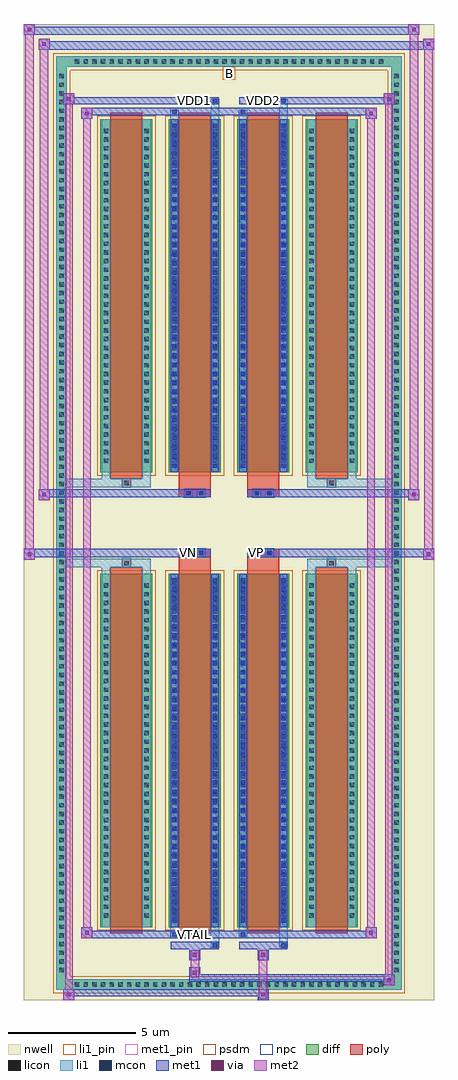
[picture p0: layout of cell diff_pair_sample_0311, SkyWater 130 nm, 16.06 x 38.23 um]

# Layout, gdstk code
import gdstk
lib = gdstk.Library(unit=1e-6, precision=5e-09)
def R(c, l, rs):  # rectangles x0, y0, x1, y1
    for r in rs: c.add(gdstk.rectangle(r[:2], r[2:], *l))
def A(c, l, x, y, w, h, nx, ny, dx, dy):  # array of equal rectangles
    R(c, l, [(x+i*dx, y+j*dy, x+i*dx+w, y+j*dy+h) for i in range(nx) for j in range(ny)])
def P(c, l, *ps):  # polygons
    for p in ps: c.add(gdstk.Polygon(p, *l))
nwell = (64, 20)
diff = (65, 20)
poly = (66, 20)
licon = (66, 44)
li1_pin = (67, 16)
li1 = (67, 20)
mcon = (67, 44)
met1_pin = (68, 16)
met1 = (68, 20)
via = (68, 44)
met2 = (69, 20)
psdm = (94, 20)
npc = (95, 20)

diff_pair_sample_0311 = lib.new_cell('diff_pair_sample_0311')
R(diff_pair_sample_0311, nwell, [(-8.03,-18.68,8.03,19.55), (-5.35,-16.87,-0.01,-0.805), (0.01,-16.87,5.35,-0.805), (-5.35,0.805,-0.01,16.87), (0.01,0.805,5.35,16.87)])
A(diff_pair_sample_0311, diff, -6.155, -18.28, 0.41, 0.41, 36, 2, 0.34, 36.15)
A(diff_pair_sample_0311, diff, -6.76, -17.715, 0.41, 0.41, 1, 104, 0, 0.34)
A(diff_pair_sample_0311, diff, 6.35, -17.715, 0.41, 0.41, 1, 104, 0, 0.34)
A(diff_pair_sample_0311, diff, -5.04, -15.825, 2.04, 13.84, 4, 2, 2.68, 17.81)
R(diff_pair_sample_0311, diff, [(-6.155,-18.28,6.155,-17.87), (-6.76,-17.715,-6.35,17.715), (6.35,-17.715,6.76,17.715), (-6.155,17.87,6.155,18.28)])
P(diff_pair_sample_0311, diff, [(6.76,18.28),(-6.76,18.28),(-6.76,-17.87),(-6.35,-17.87),(-6.35,17.87),(6.35,17.87),(6.35,-17.87),(-6.35,-17.87),(-6.76,-17.87),(-6.76,-18.28),(6.76,-18.28)])
A(diff_pair_sample_0311, poly, -4.65, -16.075, 1.26, 14.34, 4, 2, 2.68, 17.81)
R(diff_pair_sample_0311, poly, [(-4.185,-1.735,-3.855,-1.405), (-4.185,-1.735,-3.855,-1.405), (-1.97,-1.735,-0.71,-1.335), (0.71,-1.735,1.97,-1.335), (3.855,-1.735,4.185,-1.405), (3.855,-1.735,4.185,-1.405), (-1.97,-1.335,-0.71,-1.005), (-1.755,-1.335,-1.425,-1.005), (-1.255,-1.335,-0.925,-1.005), (0.71,-1.335,1.97,-1.005), (0.925,-1.335,1.255,-1.005), (1.425,-1.335,1.755,-1.005), (-1.97,1.005,-0.71,1.335), (-1.755,1.005,-1.425,1.335), (-1.255,1.005,-0.925,1.335), (0.71,1.005,1.97,1.335), (0.925,1.005,1.255,1.335), (1.425,1.005,1.755,1.335), (-1.97,1.335,-0.71,1.735), (0.71,1.335,1.97,1.735), (-4.185,1.405,-3.855,1.735), (-4.185,1.405,-3.855,1.735), (3.855,1.405,4.185,1.735), (3.855,1.405,4.185,1.735)])
A(diff_pair_sample_0311, licon, -6.035, -18.16, 0.17, 0.17, 36, 2, 0.34, 36.15)
A(diff_pair_sample_0311, licon, -6.64, -17.595, 0.17, 0.17, 1, 104, 0, 0.34)
A(diff_pair_sample_0311, licon, 6.47, -17.595, 0.17, 0.17, 1, 104, 0, 0.34)
A(diff_pair_sample_0311, licon, -4.9, -15.45, 0.17, 0.17, 1, 39, 0, 0.34)
A(diff_pair_sample_0311, licon, -3.31, -15.45, 0.17, 0.17, 1, 39, 0, 0.34)
A(diff_pair_sample_0311, licon, -2.22, -15.45, 0.17, 0.17, 1, 39, 0, 0.34)
A(diff_pair_sample_0311, licon, -0.63, -15.45, 0.17, 0.17, 1, 39, 0, 0.34)
A(diff_pair_sample_0311, licon, 0.46, -15.45, 0.17, 0.17, 1, 39, 0, 0.34)
A(diff_pair_sample_0311, licon, 2.05, -15.45, 0.17, 0.17, 1, 39, 0, 0.34)
A(diff_pair_sample_0311, licon, 3.14, -15.45, 0.17, 0.17, 1, 39, 0, 0.34)
A(diff_pair_sample_0311, licon, 4.73, -15.45, 0.17, 0.17, 1, 39, 0, 0.34)
A(diff_pair_sample_0311, licon, -4.9, 2.36, 0.17, 0.17, 1, 39, 0, 0.34)
A(diff_pair_sample_0311, licon, -3.31, 2.36, 0.17, 0.17, 1, 39, 0, 0.34)
A(diff_pair_sample_0311, licon, -2.22, 2.36, 0.17, 0.17, 1, 39, 0, 0.34)
A(diff_pair_sample_0311, licon, -0.63, 2.36, 0.17, 0.17, 1, 39, 0, 0.34)
A(diff_pair_sample_0311, licon, 0.46, 2.36, 0.17, 0.17, 1, 39, 0, 0.34)
A(diff_pair_sample_0311, licon, 2.05, 2.36, 0.17, 0.17, 1, 39, 0, 0.34)
A(diff_pair_sample_0311, licon, 3.14, 2.36, 0.17, 0.17, 1, 39, 0, 0.34)
A(diff_pair_sample_0311, licon, 4.73, 2.36, 0.17, 0.17, 1, 39, 0, 0.34)
R(diff_pair_sample_0311, licon, [(-4.105,-1.655,-3.935,-1.485), (3.935,-1.655,4.105,-1.485), (-1.675,-1.255,-1.505,-1.085), (-1.175,-1.255,-1.005,-1.085), (1.005,-1.255,1.175,-1.085), (1.505,-1.255,1.675,-1.085), (-1.675,1.085,-1.505,1.255), (-1.175,1.085,-1.005,1.255), (1.005,1.085,1.175,1.255), (1.505,1.085,1.675,1.255), (-4.105,1.485,-3.935,1.655), (3.935,1.485,4.105,1.655)])
R(diff_pair_sample_0311, li1_pin, [(-0.25,17.37,0.25,17.87)])
A(diff_pair_sample_0311, li1, -6.115, -18.24, 0.33, 0.33, 36, 2, 0.34, 36.15)
A(diff_pair_sample_0311, li1, -6.72, -17.675, 0.33, 0.33, 1, 104, 0, 0.34)
A(diff_pair_sample_0311, li1, 6.39, -17.675, 0.33, 0.33, 1, 104, 0, 0.34)
A(diff_pair_sample_0311, li1, -2.22, -15.65, 0.17, 0.17, 1, 38, 0, 0.36)
A(diff_pair_sample_0311, li1, -0.63, -15.65, 0.17, 0.17, 1, 38, 0, 0.36)
A(diff_pair_sample_0311, li1, 0.46, -15.65, 0.17, 0.17, 1, 38, 0, 0.36)
A(diff_pair_sample_0311, li1, 2.05, -15.65, 0.17, 0.17, 1, 38, 0, 0.36)
A(diff_pair_sample_0311, li1, -4.98, -15.53, 0.33, 0.33, 1, 39, 0, 0.34)
A(diff_pair_sample_0311, li1, -3.39, -15.53, 0.33, 0.33, 1, 39, 0, 0.34)
A(diff_pair_sample_0311, li1, -2.3, -15.53, 0.33, 0.33, 1, 39, 0, 0.34)
A(diff_pair_sample_0311, li1, -0.71, -15.53, 0.33, 0.33, 1, 39, 0, 0.34)
A(diff_pair_sample_0311, li1, 0.38, -15.53, 0.33, 0.33, 1, 39, 0, 0.34)
A(diff_pair_sample_0311, li1, 1.97, -15.53, 0.33, 0.33, 1, 39, 0, 0.34)
A(diff_pair_sample_0311, li1, 3.06, -15.53, 0.33, 0.33, 1, 39, 0, 0.34)
A(diff_pair_sample_0311, li1, 4.65, -15.53, 0.33, 0.33, 1, 39, 0, 0.34)
A(diff_pair_sample_0311, li1, -2.22, 2.16, 0.17, 0.17, 1, 38, 0, 0.36)
A(diff_pair_sample_0311, li1, -0.63, 2.16, 0.17, 0.17, 1, 38, 0, 0.36)
A(diff_pair_sample_0311, li1, 0.46, 2.16, 0.17, 0.17, 1, 38, 0, 0.36)
A(diff_pair_sample_0311, li1, 2.05, 2.16, 0.17, 0.17, 1, 38, 0, 0.36)
A(diff_pair_sample_0311, li1, -4.98, 2.28, 0.33, 0.33, 1, 39, 0, 0.34)
A(diff_pair_sample_0311, li1, -3.39, 2.28, 0.33, 0.33, 1, 39, 0, 0.34)
A(diff_pair_sample_0311, li1, -2.3, 2.28, 0.33, 0.33, 1, 39, 0, 0.34)
A(diff_pair_sample_0311, li1, -0.71, 2.28, 0.33, 0.33, 1, 39, 0, 0.34)
A(diff_pair_sample_0311, li1, 0.38, 2.28, 0.33, 0.33, 1, 39, 0, 0.34)
A(diff_pair_sample_0311, li1, 1.97, 2.28, 0.33, 0.33, 1, 39, 0, 0.34)
A(diff_pair_sample_0311, li1, 3.06, 2.28, 0.33, 0.33, 1, 39, 0, 0.34)
A(diff_pair_sample_0311, li1, 4.65, 2.28, 0.33, 0.33, 1, 39, 0, 0.34)
R(diff_pair_sample_0311, li1, [(-6.76,-18.28,-6.35,-17.87), (-6.76,-18.28,-6.35,-17.87), (-6.35,-18.28,6.35,-17.87), (6.35,-18.28,6.76,-17.87), (6.35,-18.28,6.76,-17.87), (-6.76,-17.87,-6.35,17.87), (6.35,-17.87,6.76,17.87), (-0.71,-16.63,-0.38,-15.825), (-0.63,-16.63,-0.46,-16.46), (1.97,-16.63,2.3,-15.825), (2.05,-16.63,2.22,-16.46), (-2.3,-16.2,-1.97,-15.825), (-2.22,-16.2,-2.05,-16.03), (0.38,-16.2,0.71,-15.825), (0.46,-16.2,0.63,-16.03), (-4.98,-15.825,-4.65,-1.985), (-3.39,-15.825,-3.06,-1.985), (-2.3,-15.825,-1.97,-1.985), (-0.71,-15.825,-0.38,-1.985), (0.38,-15.825,0.71,-1.985), (1.97,-15.825,2.3,-1.985), (3.06,-15.825,3.39,-1.985), (4.65,-15.825,4.98,-1.985), (-2.22,-15.65,-2.05,-2.16), (-0.63,-15.65,-0.46,-2.16), (0.46,-15.65,0.63,-2.16), (2.05,-15.65,2.22,-2.16), (-4.98,-1.985,-4.65,-1.405), (-3.39,-1.985,-3.06,-1.405), (3.06,-1.985,3.39,-1.405), (4.65,-1.985,4.98,-1.405), (-6.76,-1.735,-4.185,-1.405), (-4.98,-1.735,-4.185,-1.405), (-4.185,-1.735,-3.855,-1.405), (-3.855,-1.735,-3.06,-1.405), (3.06,-1.735,3.855,-1.405), (3.855,-1.735,4.185,-1.405), (3.855,-1.735,6.76,-1.405), (4.185,-1.735,4.98,-1.405), (-1.755,-1.335,-1.425,-1.005), (-1.255,-1.335,-0.925,-1.005), (0.925,-1.335,1.255,-1.005), (1.425,-1.335,1.755,-1.005), (-1.755,1.005,-1.425,1.335), (-1.255,1.005,-0.925,1.335), (0.925,1.005,1.255,1.335), (1.425,1.005,1.755,1.335), (-6.76,1.405,-4.185,1.735), (-4.98,1.405,-4.185,1.735), (-4.98,1.405,-4.65,1.985), (-4.185,1.405,-3.855,1.735), (-3.855,1.405,-3.06,1.735), (-3.39,1.405,-3.06,1.985), (3.06,1.405,3.855,1.735), (3.06,1.405,3.39,1.985), (3.855,1.405,4.185,1.735), (3.855,1.405,6.76,1.735), (4.185,1.405,4.98,1.735), (4.65,1.405,4.98,1.985), (-4.98,1.985,-4.65,15.825), (-3.39,1.985,-3.06,15.825), (-2.3,1.985,-1.97,15.825), (-0.71,1.985,-0.38,15.825), (0.38,1.985,0.71,15.825), (1.97,1.985,2.3,15.825), (3.06,1.985,3.39,15.825), (4.65,1.985,4.98,15.825), (-2.22,2.16,-2.05,15.65), (-0.63,2.16,-0.46,15.65), (0.46,2.16,0.63,15.65), (2.05,2.16,2.22,15.65), (-2.3,15.825,-1.97,16.2), (-0.71,15.825,-0.38,16.63), (0.38,15.825,0.71,16.2), (1.97,15.825,2.3,16.63), (-2.22,16.03,-2.05,16.2), (0.46,16.03,0.63,16.2), (-0.63,16.46,-0.46,16.63), (2.05,16.46,2.22,16.63), (-6.76,17.87,-6.35,18.28), (-6.76,17.87,-6.35,18.28), (-6.35,17.87,6.35,18.28), (6.35,17.87,6.76,18.28), (6.35,17.87,6.76,18.28)])
A(diff_pair_sample_0311, mcon, -2.22, -15.65, 0.17, 0.17, 1, 38, 0, 0.36)
A(diff_pair_sample_0311, mcon, -0.63, -15.65, 0.17, 0.17, 1, 38, 0, 0.36)
A(diff_pair_sample_0311, mcon, 0.46, -15.65, 0.17, 0.17, 1, 38, 0, 0.36)
A(diff_pair_sample_0311, mcon, 2.05, -15.65, 0.17, 0.17, 1, 38, 0, 0.36)
A(diff_pair_sample_0311, mcon, -2.22, 2.16, 0.17, 0.17, 1, 38, 0, 0.36)
A(diff_pair_sample_0311, mcon, -0.63, 2.16, 0.17, 0.17, 1, 38, 0, 0.36)
A(diff_pair_sample_0311, mcon, 0.46, 2.16, 0.17, 0.17, 1, 38, 0, 0.36)
A(diff_pair_sample_0311, mcon, 2.05, 2.16, 0.17, 0.17, 1, 38, 0, 0.36)
R(diff_pair_sample_0311, mcon, [(-0.63,-16.63,-0.46,-16.46), (2.05,-16.63,2.22,-16.46), (-2.22,-16.2,-2.05,-16.03), (0.46,-16.2,0.63,-16.03), (-1.675,-1.255,-1.505,-1.085), (-1.175,-1.255,-1.005,-1.085), (1.005,-1.255,1.175,-1.085), (1.505,-1.255,1.675,-1.085), (-1.675,1.085,-1.505,1.255), (-1.175,1.085,-1.005,1.255), (1.005,1.085,1.175,1.255), (1.505,1.085,1.675,1.255), (-2.22,16.03,-2.05,16.2), (0.46,16.03,0.63,16.2), (-0.63,16.46,-0.46,16.63), (2.05,16.46,2.22,16.63)])
R(diff_pair_sample_0311, met1_pin, [(-1.475,-16.24,-1.205,-15.97), (-1.725,-1.295,-1.455,-1.025), (0.955,-1.295,1.225,-1.025), (-1.475,16.42,-1.205,16.69), (1.205,16.42,1.475,16.69)])
A(diff_pair_sample_0311, met1, -2.28, -15.71, 0.29, 0.29, 1, 38, 0, 0.36)
A(diff_pair_sample_0311, met1, -0.69, -15.71, 0.29, 0.29, 1, 38, 0, 0.36)
A(diff_pair_sample_0311, met1, 0.4, -15.71, 0.29, 0.29, 1, 38, 0, 0.36)
A(diff_pair_sample_0311, met1, 1.99, -15.71, 0.29, 0.29, 1, 38, 0, 0.36)
A(diff_pair_sample_0311, met1, -2.28, 2.1, 0.29, 0.29, 1, 38, 0, 0.36)
A(diff_pair_sample_0311, met1, -0.69, 2.1, 0.29, 0.29, 1, 38, 0, 0.36)
A(diff_pair_sample_0311, met1, 0.4, 2.1, 0.29, 0.29, 1, 38, 0, 0.36)
A(diff_pair_sample_0311, met1, 1.99, 2.1, 0.29, 0.29, 1, 38, 0, 0.36)
R(diff_pair_sample_0311, met1, [(-6.49,-18.68,-6.06,-18.25), (1.125,-18.68,1.555,-18.25), (-6.49,-18.54,1.555,-18.25), (6.06,-18.11,6.49,-17.68), (-1.555,-17.97,6.49,-17.68), (-1.555,-17.83,-1.125,-17.4), (-1.555,-17.12,-1.125,-16.69), (1.125,-17.12,1.555,-16.69), (-2.28,-16.69,-0.4,-16.4), (-0.69,-16.69,-0.4,-16.4), (0.4,-16.69,2.28,-16.4), (1.99,-16.69,2.28,-16.4), (-5.78,-16.26,-5.35,-15.83), (-5.78,-16.26,-2.28,-15.97), (-2.28,-16.26,-1.99,-15.97), (-2.28,-16.26,-0.4,-15.97), (-0.4,-16.26,0.4,-15.97), (0.4,-16.26,0.69,-15.97), (0.4,-16.26,2.28,-15.97), (2.28,-16.26,5.78,-15.97), (5.35,-16.26,5.78,-15.83), (-2.28,-15.825,-1.99,-1.985), (-0.69,-15.825,-0.4,-1.985), (0.4,-15.825,0.69,-1.985), (1.99,-15.825,2.28,-1.985), (-8.03,-1.435,-7.6,-1.005), (7.6,-1.435,8.03,-1.005), (-8.03,-1.335,-0.71,-1.005), (-1.97,-1.335,-0.71,-1.005), (0.71,-1.335,1.97,-1.005), (0.71,-1.335,8.03,-1.005), (-1.735,-1.315,-1.445,-1.025), (-1.235,-1.315,-0.945,-1.025), (0.945,-1.315,1.235,-1.025), (1.445,-1.315,1.735,-1.025), (-7.46,0.905,-7.03,1.335), (7.03,0.905,7.46,1.335), (-7.46,1.005,-1.97,1.335), (-1.97,1.005,-0.71,1.335), (0.71,1.005,1.97,1.335), (1.97,1.005,7.46,1.335), (-1.735,1.025,-1.445,1.315), (-1.235,1.025,-0.945,1.315), (0.945,1.025,1.235,1.315), (1.445,1.025,1.735,1.315), (-2.28,1.985,-1.99,15.825), (-0.69,1.985,-0.4,15.825), (0.4,1.985,0.69,15.825), (1.99,1.985,2.28,15.825), (-5.78,15.83,-5.35,16.26), (5.35,15.83,5.78,16.26), (-5.78,15.97,-2.28,16.26), (-2.28,15.97,-1.99,16.26), (-2.28,15.97,-0.4,16.26), (-0.4,15.97,0.4,16.26), (0.4,15.97,0.69,16.26), (0.4,15.97,2.28,16.26), (2.28,15.97,5.78,16.26), (-6.49,16.4,-6.06,16.83), (-6.49,16.4,-2.28,16.69), (-2.28,16.4,-0.4,16.69), (-0.69,16.4,-0.4,16.69), (0.4,16.4,2.28,16.69), (1.99,16.4,2.28,16.69), (2.28,16.4,6.49,16.69), (6.06,16.4,6.49,16.83), (-7.46,18.55,-7.03,18.98), (-7.46,18.55,-5.35,18.88), (-5.35,18.55,5.35,18.88), (5.35,18.55,8.03,18.88), (7.6,18.55,8.03,18.98), (-8.03,19.12,-7.6,19.55), (-8.03,19.12,-5.35,19.45), (-5.35,19.12,5.35,19.45), (5.35,19.12,7.46,19.45), (7.03,19.12,7.46,19.55)])
R(diff_pair_sample_0311, via, [(-6.35,-18.54,-6.2,-18.39), (1.265,-18.54,1.415,-18.39), (6.2,-17.97,6.35,-17.82), (-1.415,-17.69,-1.265,-17.54), (-1.415,-16.98,-1.265,-16.83), (1.265,-16.98,1.415,-16.83), (-5.64,-16.12,-5.49,-15.97), (5.49,-16.12,5.64,-15.97), (-7.89,-1.295,-7.74,-1.145), (7.74,-1.295,7.89,-1.145), (-7.32,1.045,-7.17,1.195), (7.17,1.045,7.32,1.195), (-5.64,15.97,-5.49,16.12), (5.49,15.97,5.64,16.12), (-6.35,16.54,-6.2,16.69), (6.2,16.54,6.35,16.69), (-7.32,18.69,-7.17,18.84), (7.74,18.69,7.89,18.84), (-7.89,19.26,-7.74,19.41), (7.17,19.26,7.32,19.41)])
R(diff_pair_sample_0311, met2, [(-6.49,-18.68,-6.06,-18.25), (-6.42,-18.68,-6.13,16.83), (-6.13,-18.68,-6.06,-18.25), (-6.44,-18.63,-6.11,-18.3), (1.175,-18.63,1.505,-18.3), (1.175,-18.3,1.505,-17.07), (6.06,-18.11,6.49,-17.68), (6.13,-18.11,6.42,16.83), (6.42,-18.11,6.49,-17.68), (6.11,-18.06,6.44,-17.73), (-1.505,-17.78,-1.175,-17.45), (-1.505,-17.45,-1.175,-17.07), (-1.505,-17.07,-1.175,-16.74), (1.175,-17.07,1.505,-16.74), (-5.78,-16.26,-5.35,-15.83), (-5.71,-16.26,-5.42,16.26), (-5.42,-16.26,-5.35,-15.83), (5.35,-16.26,5.78,-15.83), (5.42,-16.26,5.71,16.26), (5.71,-16.26,5.78,-15.83), (-5.73,-16.21,-5.4,-15.88), (5.4,-16.21,5.73,-15.88), (-8.03,-1.435,-7.6,-1.005), (-7.98,-1.435,-7.65,19.55), (-7.65,-1.435,-7.6,-1.005), (7.6,-1.435,8.03,-1.005), (7.65,-1.435,7.98,18.98), (7.98,-1.435,8.03,-1.005), (-7.98,-1.385,-7.65,-1.055), (7.65,-1.385,7.98,-1.055), (-7.46,0.905,-7.03,1.335), (-7.41,0.905,-7.08,18.98), (-7.08,0.905,-7.03,1.335), (7.03,0.905,7.46,1.335), (7.08,0.905,7.41,19.55), (7.41,0.905,7.46,1.335), (-7.41,0.955,-7.08,1.285), (7.08,0.955,7.41,1.285), (-5.78,15.83,-5.35,16.26), (-5.42,15.83,-5.35,16.26), (5.35,15.83,5.78,16.26), (5.71,15.83,5.78,16.26), (-5.73,15.88,-5.4,16.21), (5.4,15.88,5.73,16.21), (-6.49,16.4,-6.06,16.83), (-6.13,16.4,-6.06,16.83), (6.06,16.4,6.49,16.83), (6.42,16.4,6.49,16.83), (-6.44,16.45,-6.11,16.78), (6.11,16.45,6.44,16.78), (-7.46,18.55,-7.03,18.98), (-7.08,18.55,-7.03,18.98), (7.6,18.55,8.03,18.98), (7.98,18.55,8.03,18.98), (-7.41,18.6,-7.08,18.93), (7.65,18.6,7.98,18.93), (-8.03,19.12,-7.6,19.55), (-7.65,19.12,-7.6,19.55), (7.03,19.12,7.46,19.55), (7.41,19.12,7.46,19.55), (-7.98,19.17,-7.65,19.5), (7.08,19.17,7.41,19.5)])
A(diff_pair_sample_0311, psdm, -5.17, -15.955, 2.3, 14.1, 4, 2, 2.68, 17.81)
P(diff_pair_sample_0311, psdm, [(6.89,18.41),(-6.89,18.41),(-6.89,-17.74),(-6.22,-17.74),(-6.22,17.74),(6.22,17.74),(6.22,-17.74),(-6.22,-17.74),(-6.89,-17.74),(-6.89,-18.41),(6.89,-18.41)])
R(diff_pair_sample_0311, npc, [(-4.205,-1.755,-3.835,-1.385), (3.835,-1.755,4.205,-1.385), (-1.775,-1.355,-1.405,-0.985), (-1.775,-1.355,-0.905,-0.985), (-1.775,-1.355,-0.905,-0.985), (-1.275,-1.355,-0.905,-0.985), (0.905,-1.355,1.275,-0.985), (0.905,-1.355,1.775,-0.985), (0.905,-1.355,1.775,-0.985), (1.405,-1.355,1.775,-0.985), (-1.775,0.985,-1.405,1.355), (-1.775,0.985,-0.905,1.355), (-1.775,0.985,-0.905,1.355), (-1.275,0.985,-0.905,1.355), (0.905,0.985,1.275,1.355), (0.905,0.985,1.775,1.355), (0.905,0.985,1.775,1.355), (1.405,0.985,1.775,1.355), (-4.205,1.385,-3.835,1.755), (3.835,1.385,4.205,1.755)])
diff_pair_sample_0311.add(gdstk.Label('VTAIL', (-1.34,-16.105), layer=68, texttype=5))
diff_pair_sample_0311.add(gdstk.Label('VN', (-1.59,-1.16), layer=68, texttype=5))
diff_pair_sample_0311.add(gdstk.Label('VP', (1.09,-1.16), layer=68, texttype=5))
diff_pair_sample_0311.add(gdstk.Label('B', (0,17.62), layer=67, texttype=5))
diff_pair_sample_0311.add(gdstk.Label('VDD2', (1.34,16.555), layer=68, texttype=5))
diff_pair_sample_0311.add(gdstk.Label('VDD1', (-1.34,16.555), layer=68, texttype=5))

lib.write_gds('diff_pair_sample_0311.gds')
